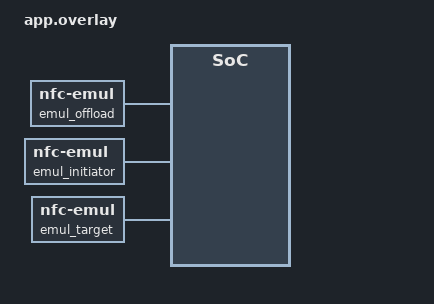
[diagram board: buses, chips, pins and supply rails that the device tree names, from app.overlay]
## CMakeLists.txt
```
# Copyright (c) 2026 RAKwireless Technology Limited
# SPDX-License-Identifier: Apache-2.0

cmake_minimum_required(VERSION 3.20.0)

find_package(Zephyr REQUIRED HINTS $ENV{ZEPHYR_BASE})
project(nfc_api)

file(GLOB app_sources src/*.c)
target_sources(app PRIVATE ${app_sources})
```

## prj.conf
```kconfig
CONFIG_ZTEST=y

CONFIG_NFC_DRIVERS=y
```

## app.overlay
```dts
/*
 * Copyright (c) 2026 RAKwireless Technology Limited
 *
 * SPDX-License-Identifier: Apache-2.0
 *
 * One emulated controller per backend class, so the tests can check that a
 * device really does lack the operations its class does not have.
 */

/ {
	emul_offload: nfc-offload {
		compatible = "zephyr,nfc-emul";
		backend = "offload";
		status = "okay";
	};

	emul_initiator: nfc-initiator {
		compatible = "zephyr,nfc-emul";
		backend = "initiator";
		status = "okay";
	};

	emul_target: nfc-target {
		compatible = "zephyr,nfc-emul";
		backend = "target";
		status = "okay";
	};
};
```

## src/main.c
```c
/*
 * Copyright (c) 2026 RAKwireless Technology Limited
 *
 * SPDX-License-Identifier: Apache-2.0
 */

#include <errno.h>
#include <string.h>

#include <zephyr/device.h>
#include <zephyr/drivers/nfc.h>
#include <zephyr/drivers/nfc/nfc_emul.h>
#include <zephyr/sys/util.h>
#include <zephyr/ztest.h>

static const struct device *const offload = DEVICE_DT_GET(DT_NODELABEL(emul_offload));
static const struct device *const initiator = DEVICE_DT_GET(DT_NODELABEL(emul_initiator));
static const struct device *const target = DEVICE_DT_GET(DT_NODELABEL(emul_target));

static const uint8_t sens_req[] = {0x26};
static const uint8_t sens_res[] = {0x44, 0x00};

static struct nfc_target discovered;
static unsigned int discovered_count;

static enum nfc_target_event last_event;
static uint8_t last_frame[16];
static uint16_t last_frame_len;
static unsigned int event_count;

static void poll_cb(const struct device *dev, const struct nfc_target *found, void *user_data)
{
	ARG_UNUSED(dev);
	ARG_UNUSED(user_data);

	discovered = *found;
	discovered_count++;
}

static void target_cb(const struct device *dev, enum nfc_target_event event, const uint8_t *data,
		      uint16_t len, void *user_data)
{
	ARG_UNUSED(dev);
	ARG_UNUSED(user_data);

	last_event = event;
	last_frame_len = MIN(len, sizeof(last_frame));
	if (data != NULL && last_frame_len != 0U) {
		memcpy(last_frame, data, last_frame_len);
	}
	event_count++;
}

ZTEST(nfc_api, test_devices_ready)
{
	zassert_true(device_is_ready(offload));
	zassert_true(device_is_ready(initiator));
	zassert_true(device_is_ready(target));
}

ZTEST(nfc_api, test_backend_classification)
{
	uint8_t tx[1] = {0x00};
	uint8_t rx[4];
	uint16_t rx_len;

	rx_len = sizeof(rx);
	zassert_equal(nfc_initiator_transceive(offload, tx, sizeof(tx), 0U, rx, &rx_len), -ENOSYS);
	zassert_equal(nfc_target_send(offload, tx, sizeof(tx), 0U), -ENOSYS);

	zassert_equal(nfc_offload_poll_start(initiator, NFC_PROTO_ISO14443A, NULL, poll_cb, NULL),
		      -ENOSYS);
	zassert_equal(nfc_target_start(initiator, NFC_PROTO_ISO14443A, target_cb, NULL), -ENOSYS);

	rx_len = sizeof(rx);
	zassert_equal(nfc_initiator_transceive(target, tx, sizeof(tx), 0U, rx, &rx_len), -ENOSYS);
	zassert_equal(nfc_offload_exchange(target, NULL, tx, sizeof(tx), rx, &rx_len, 10U),
		      -ENOSYS);
}

ZTEST(nfc_api, test_claim_release_null_guard)
{
	zassert_equal(nfc_claim(offload), 0);
	zassert_ok(nfc_release(offload));

	zassert_equal(nfc_claim(target), 0);
	zassert_ok(nfc_release(target));
}

ZTEST(nfc_api, test_claim_reports_claimed_protocol)
{
	zassert_equal(nfc_claim(initiator), NFC_PROTO_ISO14443A);
	zassert_ok(nfc_release(initiator));
}

ZTEST(nfc_api, test_optional_ops_report_enosys)
{
	struct nfc_property prop = {.type = NFC_PROP_TIMEOUT};

	zassert_equal(nfc_load_protocol(offload, NFC_PROTO_ISO14443A, NFC_MODE_INITIATOR), -ENOSYS);
	zassert_equal(nfc_get_properties(offload, &prop, 1), -ENOSYS);
	zassert_equal(nfc_set_properties(offload, &prop, 1), -ENOSYS);
}

ZTEST(nfc_api, test_supported_protocols_and_modes)
{
	zassert_equal(nfc_supported_protocols(initiator), NFC_PROTO_ISO14443A);
	zassert_equal(nfc_supported_protocols(offload), NFC_PROTO_ISO14443A | NFC_PROTO_ISO14443B);

	zassert_equal(nfc_supported_modes(initiator, NFC_PROTO_ISO14443A) & NFC_MODE_ROLE_MASK,
		      NFC_MODE_INITIATOR);
	zassert_equal(nfc_supported_modes(target, NFC_PROTO_ISO14443A) & NFC_MODE_ROLE_MASK,
		      NFC_MODE_TARGET);

	zassert_equal(nfc_supported_modes(initiator, NFC_PROTO_FELICA), 0,
		      "an unsupported protocol must report no modes");
}

ZTEST(nfc_api, test_load_protocol)
{
	zassert_ok(nfc_load_protocol(initiator, NFC_PROTO_ISO14443A, NFC_MODE_INITIATOR));
	zassert_equal(nfc_load_protocol(initiator, NFC_PROTO_FELICA, NFC_MODE_INITIATOR), -ENOTSUP);
	zassert_equal(nfc_load_protocol(initiator, NFC_PROTO_ISO14443A, NFC_MODE_TARGET), -ENOTSUP);
}

ZTEST(nfc_api, test_properties_report_per_element_status)
{
	struct nfc_property written[] = {
		{.type = NFC_PROP_TIMEOUT, .timeout_us = 1234U},
		{.type = NFC_PROP_MFC_CRYPTO, .mfc_crypto_on = true},
		{.type = NFC_PROP_HW_TX_CRC, .hw_tx_crc = true},
	};
	struct nfc_property read[] = {
		{.type = NFC_PROP_TIMEOUT},
		{.type = NFC_PROP_HW_TX_CRC},
	};

	zassert_ok(nfc_set_properties(initiator, written, ARRAY_SIZE(written)));
	zassert_ok(written[0].status);
	zassert_equal(written[1].status, -ENOTSUP);
	zassert_ok(written[2].status);

	zassert_ok(nfc_get_properties(initiator, read, ARRAY_SIZE(read)));
	zassert_equal(read[0].timeout_us, 1234U);
	zassert_true(read[1].hw_tx_crc);
}

ZTEST(nfc_api, test_transceive_roundtrip)
{
	static const struct nfc_emul_frame script[] = {
		{
			.tx = sens_req,
			.tx_len = sizeof(sens_req),
			.tx_last_bits = 7U,
			.rx = sens_res,
			.rx_len = sizeof(sens_res),
		},
	};
	uint8_t rx[8];
	uint16_t rx_len = sizeof(rx);

	nfc_emul_load_script(initiator, script, ARRAY_SIZE(script));

	zassert_ok(
		nfc_initiator_transceive(initiator, sens_req, sizeof(sens_req), 7U, rx, &rx_len));
	zassert_equal(rx_len, sizeof(sens_res));
	zassert_mem_equal(rx, sens_res, sizeof(sens_res));
	zassert_equal(nfc_emul_script_remaining(initiator), 0);
}

ZTEST(nfc_api, test_transceive_reports_errors)
{
	static const uint8_t all_req[] = {0x52};
	static const struct nfc_emul_frame script[] = {
		{
			.tx = sens_req,
			.tx_len = sizeof(sens_req),
			.tx_last_bits = 7U,
			.rx = sens_res,
			.rx_len = sizeof(sens_res),
		},
	};
	uint8_t rx[8];
	uint16_t rx_len;

	nfc_emul_load_script(initiator, script, ARRAY_SIZE(script));
	rx_len = sizeof(rx);
	zassert_equal(
		nfc_initiator_transceive(initiator, all_req, sizeof(all_req), 7U, rx, &rx_len),
		-EIO);

	nfc_emul_load_script(initiator, script, ARRAY_SIZE(script));
	rx_len = sizeof(rx);
	zassert_equal(
		nfc_initiator_transceive(initiator, sens_req, sizeof(sens_req), 8U, rx, &rx_len),
		-EIO);

	nfc_emul_load_script(initiator, NULL, 0);
	rx_len = sizeof(rx);
	zassert_equal(
		nfc_initiator_transceive(initiator, sens_req, sizeof(sens_req), 7U, rx, &rx_len),
		-ENODATA);
}

ZTEST(nfc_api, test_offload_poll_and_exchange)
{
	static const uint8_t read_cmd[] = {0x30, 0x00};
	static const uint8_t read_res[] = {0x04, 0x11, 0x22, 0x33};
	static const struct nfc_emul_frame script[] = {
		{
			.tx = read_cmd,
			.tx_len = sizeof(read_cmd),
			.rx = read_res,
			.rx_len = sizeof(read_res),
		},
	};
	const struct nfc_target staged = {
		.tech = NFC_TECH_A,
		.proto = NFC_PROTO_ISO14443A,
		.a = {.uid = {0x04, 0x11, 0x22, 0x33}, .uid_len = 4U, .sak = 0x00U},
	};
	uint8_t rx[8];
	uint16_t rx_len = sizeof(rx);

	zassert_ok(nfc_emul_set_target(offload, &staged));
	zassert_ok(nfc_offload_poll_start(offload, NFC_PROTO_ISO14443A, NULL, poll_cb, NULL));

	zassert_equal(discovered_count, 1);
	zassert_equal(discovered.tech, NFC_TECH_A);
	zassert_equal(discovered.a.uid_len, 4U);
	zassert_mem_equal(discovered.a.uid, staged.a.uid, staged.a.uid_len);

	nfc_emul_load_script(offload, script, ARRAY_SIZE(script));
	zassert_ok(nfc_offload_exchange(offload, &discovered, read_cmd, sizeof(read_cmd), rx,
					&rx_len, 100U));
	zassert_equal(rx_len, sizeof(read_res));
	zassert_mem_equal(rx, read_res, sizeof(read_res));
	zassert_equal(nfc_emul_script_remaining(offload), 0);

	zassert_ok(nfc_offload_poll_stop(offload));

	zassert_equal(nfc_offload_poll_start(offload, NFC_PROTO_ISO15693, NULL, poll_cb, NULL),
		      -ENOTSUP);
}

ZTEST(nfc_api, test_target_mode_events)
{
	static const uint8_t request[] = {0x30, 0x04};
	static const uint8_t response[] = {0xDE, 0xAD, 0xBE, 0xEF};
	static const struct nfc_emul_frame script[] = {
		{
			.tx = response,
			.tx_len = sizeof(response),
		},
	};

	zassert_equal(nfc_emul_raise_target_event(target, NFC_TARGET_SELECTED, NULL, 0), -EPERM);
	zassert_equal(nfc_target_send(target, response, sizeof(response), 0U), -EPERM);

	zassert_ok(nfc_target_start(target, NFC_PROTO_ISO14443A, target_cb, NULL));

	zassert_ok(nfc_emul_raise_target_event(target, NFC_TARGET_SELECTED, NULL, 0));
	zassert_equal(last_event, NFC_TARGET_SELECTED);

	zassert_ok(nfc_emul_raise_target_event(target, NFC_TARGET_FRAME, request, sizeof(request)));
	zassert_equal(last_event, NFC_TARGET_FRAME);
	zassert_equal(last_frame_len, sizeof(request));
	zassert_mem_equal(last_frame, request, sizeof(request));

	nfc_emul_load_script(target, script, ARRAY_SIZE(script));
	zassert_ok(nfc_target_send(target, response, sizeof(response), 0U));
	zassert_equal(nfc_emul_script_remaining(target), 0);

	zassert_ok(nfc_emul_raise_target_event(target, NFC_TARGET_DESELECTED, NULL, 0));
	zassert_equal(last_event, NFC_TARGET_DESELECTED);
	zassert_equal(event_count, 3);

	zassert_ok(nfc_target_stop(target));
	zassert_equal(nfc_emul_raise_target_event(target, NFC_TARGET_SELECTED, NULL, 0), -EPERM);

	zassert_equal(nfc_target_start(target, NFC_PROTO_ISO15693, target_cb, NULL), -ENOTSUP);
}

static void nfc_api_before(void *fixture)
{
	ARG_UNUSED(fixture);

	nfc_emul_load_script(offload, NULL, 0);
	nfc_emul_load_script(initiator, NULL, 0);
	nfc_emul_load_script(target, NULL, 0);

	(void)nfc_offload_poll_stop(offload);
	(void)nfc_emul_set_target(offload, NULL);
	(void)nfc_target_stop(target);

	memset(&discovered, 0, sizeof(discovered));
	discovered_count = 0U;

	memset(last_frame, 0, sizeof(last_frame));
	last_frame_len = 0U;
	event_count = 0U;
}

ZTEST_SUITE(nfc_api, NULL, NULL, nfc_api_before, NULL, NULL);
```
